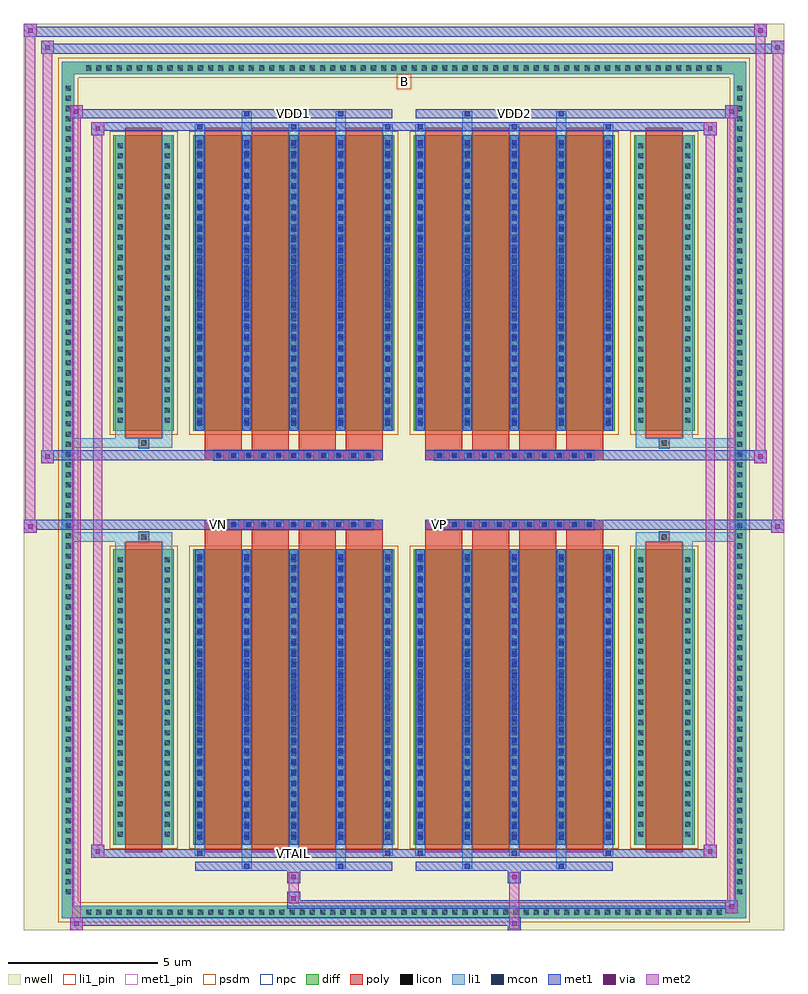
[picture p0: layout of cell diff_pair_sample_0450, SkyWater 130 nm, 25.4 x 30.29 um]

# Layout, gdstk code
import gdstk
lib = gdstk.Library(unit=1e-6, precision=5e-09)
def R(c, l, rs):  # rectangles x0, y0, x1, y1
    for r in rs: c.add(gdstk.rectangle(r[:2], r[2:], *l))
def A(c, l, x, y, w, h, nx, ny, dx, dy):  # array of equal rectangles
    R(c, l, [(x+i*dx, y+j*dy, x+i*dx+w, y+j*dy+h) for i in range(nx) for j in range(ny)])
def P(c, l, *ps):  # polygons
    for p in ps: c.add(gdstk.Polygon(p, *l))
nwell = (64, 20)
diff = (65, 20)
poly = (66, 20)
licon = (66, 44)
li1_pin = (67, 16)
li1 = (67, 20)
mcon = (67, 44)
met1_pin = (68, 16)
met1 = (68, 20)
via = (68, 44)
met2 = (69, 20)
psdm = (94, 20)
npc = (95, 20)

diff_pair_sample_0450 = lib.new_cell('diff_pair_sample_0450')
R(diff_pair_sample_0450, nwell, [(-12.7,-14.71,12.7,15.58), (-10.02,-12.9,-0.01,-0.8), (0.01,-12.9,10.02,-0.8), (-10.02,0.8,-0.01,12.9), (0.01,0.8,10.02,12.9)])
A(diff_pair_sample_0450, diff, -10.745, -14.31, 0.41, 0.41, 63, 2, 0.34, 28.21)
A(diff_pair_sample_0450, diff, -11.43, -13.635, 0.41, 0.41, 1, 80, 0, 0.34)
A(diff_pair_sample_0450, diff, 11.02, -13.635, 0.41, 0.41, 1, 80, 0, 0.34)
R(diff_pair_sample_0450, diff, [(-10.745,-14.31,10.745,-13.9), (-11.43,-13.635,-11.02,13.635), (11.02,-13.635,11.43,13.635), (-9.71,-11.855,-7.69,-1.985), (-7.05,-11.855,-0.32,-1.985), (0.32,-11.855,7.05,-1.985), (7.69,-11.855,9.71,-1.985), (-9.71,1.985,-7.69,11.855), (-7.05,1.985,-0.32,11.855), (0.32,1.985,7.05,11.855), (7.69,1.985,9.71,11.855), (-10.745,13.9,10.745,14.31)])
P(diff_pair_sample_0450, diff, [(11.43,14.31),(-11.43,14.31),(-11.43,-13.9),(-11.02,-13.9),(-11.02,13.9),(11.02,13.9),(11.02,-13.9),(-11.02,-13.9),(-11.43,-13.9),(-11.43,-14.31),(11.43,-14.31)])
A(diff_pair_sample_0450, poly, -6.66, -12.105, 1.24, 10.37, 4, 2, 1.57, 13.84)
A(diff_pair_sample_0450, poly, 0.71, -12.105, 1.24, 10.37, 4, 2, 1.57, 13.84)
A(diff_pair_sample_0450, poly, -6.66, -1.735, 1.24, 0.405, 4, 2, 1.57, 3.065)
A(diff_pair_sample_0450, poly, 0.71, -1.735, 1.24, 0.405, 4, 2, 1.57, 3.065)
A(diff_pair_sample_0450, poly, -6.35, -1.33, 0.33, 0.33, 11, 2, 0.5, 2.33)
A(diff_pair_sample_0450, poly, 1.02, -1.33, 0.33, 0.33, 11, 2, 0.5, 2.33)
R(diff_pair_sample_0450, poly, [(-9.32,-12.105,-8.08,-1.735), (8.08,-12.105,9.32,-1.735), (-8.865,-1.735,-8.535,-1.405), (-8.865,-1.735,-8.535,-1.405), (8.535,-1.735,8.865,-1.405), (8.535,-1.735,8.865,-1.405), (-6.66,-1.33,-0.71,-1), (0.71,-1.33,6.66,-1), (-6.66,1,-0.71,1.33), (0.71,1,6.66,1.33), (-8.865,1.405,-8.535,1.735), (-8.865,1.405,-8.535,1.735), (8.535,1.405,8.865,1.735), (8.535,1.405,8.865,1.735), (-9.32,1.735,-8.08,12.105), (8.08,1.735,9.32,12.105)])
A(diff_pair_sample_0450, licon, -10.625, -14.19, 0.17, 0.17, 63, 2, 0.34, 28.21)
A(diff_pair_sample_0450, licon, -11.31, -13.515, 0.17, 0.17, 1, 80, 0, 0.34)
A(diff_pair_sample_0450, licon, 11.14, -13.515, 0.17, 0.17, 1, 80, 0, 0.34)
A(diff_pair_sample_0450, licon, -9.57, -11.595, 0.17, 0.17, 1, 28, 0, 0.34)
A(diff_pair_sample_0450, licon, -8, -11.595, 0.17, 0.17, 1, 28, 0, 0.34)
A(diff_pair_sample_0450, licon, -6.91, -11.595, 0.17, 0.17, 5, 28, 1.57, 0.34)
A(diff_pair_sample_0450, licon, 0.46, -11.595, 0.17, 0.17, 5, 28, 1.57, 0.34)
A(diff_pair_sample_0450, licon, 7.83, -11.595, 0.17, 0.17, 1, 28, 0, 0.34)
A(diff_pair_sample_0450, licon, 9.4, -11.595, 0.17, 0.17, 1, 28, 0, 0.34)
A(diff_pair_sample_0450, licon, -6.27, -1.25, 0.17, 0.17, 11, 2, 0.5, 2.33)
A(diff_pair_sample_0450, licon, 1.1, -1.25, 0.17, 0.17, 11, 2, 0.5, 2.33)
A(diff_pair_sample_0450, licon, -9.57, 2.245, 0.17, 0.17, 1, 28, 0, 0.34)
A(diff_pair_sample_0450, licon, -8, 2.245, 0.17, 0.17, 1, 28, 0, 0.34)
A(diff_pair_sample_0450, licon, -6.91, 2.245, 0.17, 0.17, 5, 28, 1.57, 0.34)
A(diff_pair_sample_0450, licon, 0.46, 2.245, 0.17, 0.17, 5, 28, 1.57, 0.34)
A(diff_pair_sample_0450, licon, 7.83, 2.245, 0.17, 0.17, 1, 28, 0, 0.34)
A(diff_pair_sample_0450, licon, 9.4, 2.245, 0.17, 0.17, 1, 28, 0, 0.34)
R(diff_pair_sample_0450, licon, [(-8.785,-1.655,-8.615,-1.485), (8.615,-1.655,8.785,-1.485), (-8.785,1.485,-8.615,1.655), (8.615,1.485,8.785,1.655)])
R(diff_pair_sample_0450, li1_pin, [(-0.25,13.4,0.25,13.9)])
A(diff_pair_sample_0450, li1, -10.705, -14.27, 0.33, 0.33, 63, 2, 0.34, 28.21)
A(diff_pair_sample_0450, li1, -11.39, -13.595, 0.33, 0.33, 1, 80, 0, 0.34)
A(diff_pair_sample_0450, li1, 11.06, -13.595, 0.33, 0.33, 1, 80, 0, 0.34)
A(diff_pair_sample_0450, li1, -6.99, -12.23, 0.33, 0.375, 3, 2, 3.14, 24.085)
A(diff_pair_sample_0450, li1, -6.91, -12.23, 0.17, 0.17, 3, 2, 3.14, 24.29)
A(diff_pair_sample_0450, li1, 0.38, -12.23, 0.33, 0.375, 3, 2, 3.14, 24.085)
A(diff_pair_sample_0450, li1, 0.46, -12.23, 0.17, 0.17, 3, 2, 3.14, 24.29)
A(diff_pair_sample_0450, li1, -6.99, -11.855, 0.33, 9.87, 5, 2, 1.57, 13.84)
A(diff_pair_sample_0450, li1, 0.38, -11.855, 0.33, 9.87, 5, 2, 1.57, 13.84)
A(diff_pair_sample_0450, li1, -6.91, -11.685, 0.17, 0.17, 5, 27, 1.57, 0.36)
A(diff_pair_sample_0450, li1, -6.91, -11.685, 0.17, 9.53, 5, 2, 1.57, 13.84)
A(diff_pair_sample_0450, li1, 0.46, -11.685, 0.17, 0.17, 5, 27, 1.57, 0.36)
A(diff_pair_sample_0450, li1, 0.46, -11.685, 0.17, 9.53, 5, 2, 1.57, 13.84)
A(diff_pair_sample_0450, li1, -9.65, -11.675, 0.33, 0.33, 1, 28, 0, 0.34)
A(diff_pair_sample_0450, li1, -8.08, -11.675, 0.33, 0.33, 1, 28, 0, 0.34)
A(diff_pair_sample_0450, li1, -6.99, -11.675, 0.33, 0.33, 5, 28, 1.57, 0.34)
A(diff_pair_sample_0450, li1, 0.38, -11.675, 0.33, 0.33, 5, 28, 1.57, 0.34)
A(diff_pair_sample_0450, li1, 7.75, -11.675, 0.33, 0.33, 1, 28, 0, 0.34)
A(diff_pair_sample_0450, li1, 9.32, -11.675, 0.33, 0.33, 1, 28, 0, 0.34)
A(diff_pair_sample_0450, li1, -6.35, -1.33, 0.33, 0.33, 11, 2, 0.5, 2.33)
A(diff_pair_sample_0450, li1, 1.02, -1.33, 0.33, 0.33, 11, 2, 0.5, 2.33)
A(diff_pair_sample_0450, li1, -6.91, 2.155, 0.17, 0.17, 5, 27, 1.57, 0.36)
A(diff_pair_sample_0450, li1, 0.46, 2.155, 0.17, 0.17, 5, 27, 1.57, 0.36)
A(diff_pair_sample_0450, li1, -9.65, 2.165, 0.33, 0.33, 1, 28, 0, 0.34)
A(diff_pair_sample_0450, li1, -8.08, 2.165, 0.33, 0.33, 1, 28, 0, 0.34)
A(diff_pair_sample_0450, li1, -6.99, 2.165, 0.33, 0.33, 5, 28, 1.57, 0.34)
A(diff_pair_sample_0450, li1, 0.38, 2.165, 0.33, 0.33, 5, 28, 1.57, 0.34)
A(diff_pair_sample_0450, li1, 7.75, 2.165, 0.33, 0.33, 1, 28, 0, 0.34)
A(diff_pair_sample_0450, li1, 9.32, 2.165, 0.33, 0.33, 1, 28, 0, 0.34)
R(diff_pair_sample_0450, li1, [(-11.43,-14.31,-11.02,-13.9), (-11.43,-14.31,-11.02,-13.9), (-11.02,-14.31,11.02,-13.9), (11.02,-14.31,11.43,-13.9), (11.02,-14.31,11.43,-13.9), (-11.43,-13.9,-11.02,13.9), (11.02,-13.9,11.43,13.9), (-5.42,-12.66,-5.09,-11.855), (-5.34,-12.66,-5.17,-12.49), (-2.28,-12.66,-1.95,-11.855), (-2.2,-12.66,-2.03,-12.49), (1.95,-12.66,2.28,-11.855), (2.03,-12.66,2.2,-12.49), (5.09,-12.66,5.42,-11.855), (5.17,-12.66,5.34,-12.49), (-9.65,-11.855,-9.32,-1.985), (-8.08,-11.855,-7.75,-1.985), (7.75,-11.855,8.08,-1.985), (9.32,-11.855,9.65,-1.985), (-9.65,-1.985,-9.32,-1.405), (-8.08,-1.985,-7.75,-1.405), (7.75,-1.985,8.08,-1.405), (9.32,-1.985,9.65,-1.405), (-11.43,-1.735,-8.865,-1.405), (-9.65,-1.735,-8.865,-1.405), (-8.865,-1.735,-8.535,-1.405), (-8.535,-1.735,-7.75,-1.405), (7.75,-1.735,8.535,-1.405), (8.535,-1.735,8.865,-1.405), (8.535,-1.735,11.43,-1.405), (8.865,-1.735,9.65,-1.405), (-11.43,1.405,-8.865,1.735), (-9.65,1.405,-8.865,1.735), (-9.65,1.405,-9.32,1.985), (-8.865,1.405,-8.535,1.735), (-8.535,1.405,-7.75,1.735), (-8.08,1.405,-7.75,1.985), (7.75,1.405,8.535,1.735), (7.75,1.405,8.08,1.985), (8.535,1.405,8.865,1.735), (8.535,1.405,11.43,1.735), (8.865,1.405,9.65,1.735), (9.32,1.405,9.65,1.985), (-9.65,1.985,-9.32,11.855), (-8.08,1.985,-7.75,11.855), (7.75,1.985,8.08,11.855), (9.32,1.985,9.65,11.855), (-5.42,11.855,-5.09,12.66), (-2.28,11.855,-1.95,12.66), (1.95,11.855,2.28,12.66), (5.09,11.855,5.42,12.66), (-5.34,12.49,-5.17,12.66), (-2.2,12.49,-2.03,12.66), (2.03,12.49,2.2,12.66), (5.17,12.49,5.34,12.66), (-11.43,13.9,-11.02,14.31), (-11.43,13.9,-11.02,14.31), (-11.02,13.9,11.02,14.31), (11.02,13.9,11.43,14.31), (11.02,13.9,11.43,14.31)])
A(diff_pair_sample_0450, mcon, -6.91, -12.23, 0.17, 0.17, 3, 2, 3.14, 24.29)
A(diff_pair_sample_0450, mcon, 0.46, -12.23, 0.17, 0.17, 3, 2, 3.14, 24.29)
A(diff_pair_sample_0450, mcon, -6.91, -11.685, 0.17, 0.17, 5, 27, 1.57, 0.36)
A(diff_pair_sample_0450, mcon, 0.46, -11.685, 0.17, 0.17, 5, 27, 1.57, 0.36)
A(diff_pair_sample_0450, mcon, -6.27, -1.25, 0.17, 0.17, 11, 2, 0.5, 2.33)
A(diff_pair_sample_0450, mcon, 1.1, -1.25, 0.17, 0.17, 11, 2, 0.5, 2.33)
A(diff_pair_sample_0450, mcon, -6.91, 2.155, 0.17, 0.17, 5, 27, 1.57, 0.36)
A(diff_pair_sample_0450, mcon, 0.46, 2.155, 0.17, 0.17, 5, 27, 1.57, 0.36)
R(diff_pair_sample_0450, mcon, [(-5.34,-12.66,-5.17,-12.49), (-2.2,-12.66,-2.03,-12.49), (2.03,-12.66,2.2,-12.49), (5.17,-12.66,5.34,-12.49), (-5.34,12.49,-5.17,12.66), (-2.2,12.49,-2.03,12.66), (2.03,12.49,2.2,12.66), (5.17,12.49,5.34,12.66)])
R(diff_pair_sample_0450, met1_pin, [(-3.82,-12.27,-3.55,-12), (-6.32,-1.29,-6.05,-1.02), (1.05,-1.29,1.32,-1.02), (-3.82,12.45,-3.55,12.72), (3.55,12.45,3.82,12.72)])
A(diff_pair_sample_0450, met1, -6.97, -12.29, 0.29, 0.29, 3, 2, 3.14, 24.29)
A(diff_pair_sample_0450, met1, 0.4, -12.29, 0.29, 0.29, 3, 2, 3.14, 24.29)
A(diff_pair_sample_0450, met1, -6.97, -11.855, 0.29, 9.87, 5, 2, 1.57, 13.84)
A(diff_pair_sample_0450, met1, 0.4, -11.855, 0.29, 9.87, 5, 2, 1.57, 13.84)
A(diff_pair_sample_0450, met1, -6.97, -11.745, 0.29, 0.29, 5, 27, 1.57, 0.36)
A(diff_pair_sample_0450, met1, 0.4, -11.745, 0.29, 0.29, 5, 27, 1.57, 0.36)
A(diff_pair_sample_0450, met1, -6.33, -1.31, 0.29, 0.29, 11, 2, 0.5, 2.33)
A(diff_pair_sample_0450, met1, 1.04, -1.31, 0.29, 0.29, 11, 2, 0.5, 2.33)
A(diff_pair_sample_0450, met1, -6.97, 2.095, 0.29, 0.29, 5, 27, 1.57, 0.36)
A(diff_pair_sample_0450, met1, 0.4, 2.095, 0.29, 0.29, 5, 27, 1.57, 0.36)
R(diff_pair_sample_0450, met1, [(-11.16,-14.71,-10.73,-14.28), (3.47,-14.71,3.9,-14.28), (-11.16,-14.57,3.9,-14.28), (10.73,-14.14,11.16,-13.71), (-3.9,-14,11.16,-13.71), (-3.9,-13.86,-3.47,-13.43), (-3.9,-13.15,-3.47,-12.72), (3.47,-13.15,3.9,-12.72), (-6.97,-12.72,-0.4,-12.43), (-5.4,-12.72,-5.11,-12.43), (-2.26,-12.72,-1.97,-12.43), (0.4,-12.72,6.97,-12.43), (1.97,-12.72,2.26,-12.43), (5.11,-12.72,5.4,-12.43), (-10.45,-12.29,-10.02,-11.86), (-10.45,-12.29,-6.97,-12), (-6.97,-12.29,-0.4,-12), (-0.4,-12.29,0.4,-12), (0.4,-12.29,6.97,-12), (6.97,-12.29,10.45,-12), (10.02,-12.29,10.45,-11.86), (-12.7,-1.43,-12.27,-1), (12.27,-1.43,12.7,-1), (-12.7,-1.33,-0.71,-1), (-6.66,-1.33,-0.71,-1), (0.71,-1.33,6.66,-1), (0.71,-1.33,12.7,-1), (-12.13,0.9,-11.7,1.33), (11.7,0.9,12.13,1.33), (-12.13,1,-6.66,1.33), (-6.66,1,-0.71,1.33), (0.71,1,6.66,1.33), (6.66,1,12.13,1.33), (-10.45,11.86,-10.02,12.29), (10.02,11.86,10.45,12.29), (-10.45,12,-6.97,12.29), (-6.97,12,-0.4,12.29), (-0.4,12,0.4,12.29), (0.4,12,6.97,12.29), (6.97,12,10.45,12.29), (-11.16,12.43,-10.73,12.86), (-11.16,12.43,-6.97,12.72), (-6.97,12.43,-0.4,12.72), (-5.4,12.43,-5.11,12.72), (-2.26,12.43,-1.97,12.72), (0.4,12.43,6.97,12.72), (1.97,12.43,2.26,12.72), (5.11,12.43,5.4,12.72), (6.97,12.43,11.16,12.72), (10.73,12.43,11.16,12.86), (-12.13,14.58,-11.7,15.01), (-12.13,14.58,-10.02,14.91), (-10.02,14.58,10.02,14.91), (10.02,14.58,12.7,14.91), (12.27,14.58,12.7,15.01), (-12.7,15.15,-12.27,15.58), (-12.7,15.15,-10.02,15.48), (-10.02,15.15,10.02,15.48), (10.02,15.15,12.13,15.48), (11.7,15.15,12.13,15.58)])
R(diff_pair_sample_0450, via, [(-11.02,-14.57,-10.87,-14.42), (3.61,-14.57,3.76,-14.42), (10.87,-14,11.02,-13.85), (-3.76,-13.72,-3.61,-13.57), (-3.76,-13.01,-3.61,-12.86), (3.61,-13.01,3.76,-12.86), (-10.31,-12.15,-10.16,-12), (10.16,-12.15,10.31,-12), (-12.56,-1.29,-12.41,-1.14), (12.41,-1.29,12.56,-1.14), (-11.99,1.04,-11.84,1.19), (11.84,1.04,11.99,1.19), (-10.31,12,-10.16,12.15), (10.16,12,10.31,12.15), (-11.02,12.57,-10.87,12.72), (10.87,12.57,11.02,12.72), (-11.99,14.72,-11.84,14.87), (12.41,14.72,12.56,14.87), (-12.56,15.29,-12.41,15.44), (11.84,15.29,11.99,15.44)])
R(diff_pair_sample_0450, met2, [(-11.16,-14.71,-10.73,-14.28), (-11.09,-14.71,-10.8,12.86), (-10.8,-14.71,-10.73,-14.28), (-11.11,-14.66,-10.78,-14.33), (3.52,-14.66,3.85,-14.33), (3.52,-14.33,3.85,-13.1), (10.73,-14.14,11.16,-13.71), (10.8,-14.14,11.09,12.86), (11.09,-14.14,11.16,-13.71), (10.78,-14.09,11.11,-13.76), (-3.85,-13.81,-3.52,-13.48), (-3.85,-13.48,-3.52,-13.1), (-3.85,-13.1,-3.52,-12.77), (3.52,-13.1,3.85,-12.77), (-10.45,-12.29,-10.02,-11.86), (-10.38,-12.29,-10.09,12.29), (-10.09,-12.29,-10.02,-11.86), (10.02,-12.29,10.45,-11.86), (10.09,-12.29,10.38,12.29), (10.38,-12.29,10.45,-11.86), (-10.4,-12.24,-10.07,-11.91), (10.07,-12.24,10.4,-11.91), (-12.7,-1.43,-12.27,-1), (-12.65,-1.43,-12.32,15.58), (-12.32,-1.43,-12.27,-1), (12.27,-1.43,12.7,-1), (12.32,-1.43,12.65,15.01), (12.65,-1.43,12.7,-1), (-12.65,-1.38,-12.32,-1.05), (12.32,-1.38,12.65,-1.05), (-12.13,0.9,-11.7,1.33), (-12.08,0.9,-11.75,15.01), (-11.75,0.9,-11.7,1.33), (11.7,0.9,12.13,1.33), (11.75,0.9,12.08,15.58), (12.08,0.9,12.13,1.33), (-12.08,0.95,-11.75,1.28), (11.75,0.95,12.08,1.28), (-10.45,11.86,-10.02,12.29), (-10.09,11.86,-10.02,12.29), (10.02,11.86,10.45,12.29), (10.38,11.86,10.45,12.29), (-10.4,11.91,-10.07,12.24), (10.07,11.91,10.4,12.24), (-11.16,12.43,-10.73,12.86), (-10.8,12.43,-10.73,12.86), (10.73,12.43,11.16,12.86), (11.09,12.43,11.16,12.86), (-11.11,12.48,-10.78,12.81), (10.78,12.48,11.11,12.81), (-12.13,14.58,-11.7,15.01), (-11.75,14.58,-11.7,15.01), (12.27,14.58,12.7,15.01), (12.65,14.58,12.7,15.01), (-12.08,14.63,-11.75,14.96), (12.32,14.63,12.65,14.96), (-12.7,15.15,-12.27,15.58), (-12.32,15.15,-12.27,15.58), (11.7,15.15,12.13,15.58), (12.08,15.15,12.13,15.58), (-12.65,15.2,-12.32,15.53), (11.75,15.2,12.08,15.53)])
R(diff_pair_sample_0450, psdm, [(-9.84,-11.985,-7.56,-1.855), (-7.18,-11.985,-0.19,-1.855), (0.19,-11.985,7.18,-1.855), (7.56,-11.985,9.84,-1.855), (-9.84,1.855,-7.56,11.985), (-7.18,1.855,-0.19,11.985), (0.19,1.855,7.18,11.985), (7.56,1.855,9.84,11.985)])
P(diff_pair_sample_0450, psdm, [(11.56,14.44),(-11.56,14.44),(-11.56,-13.77),(-10.89,-13.77),(-10.89,13.77),(10.89,13.77),(10.89,-13.77),(-10.89,-13.77),(-11.56,-13.77),(-11.56,-14.44),(11.56,-14.44)])
A(diff_pair_sample_0450, npc, -6.37, -1.35, 0.37, 0.37, 11, 2, 0.5, 2.33)
A(diff_pair_sample_0450, npc, 1, -1.35, 0.37, 0.37, 11, 2, 0.5, 2.33)
R(diff_pair_sample_0450, npc, [(-8.885,-1.755,-8.515,-1.385), (8.515,-1.755,8.885,-1.385), (-6.37,-1.35,-5.5,-0.98), (-6.37,-1.35,-5.5,-0.98), (-5.87,-1.35,-5,-0.98), (-5.87,-1.35,-5,-0.98), (-5.37,-1.35,-4.5,-0.98), (-5.37,-1.35,-4.5,-0.98), (-4.87,-1.35,-4,-0.98), (-4.87,-1.35,-4,-0.98), (-4.37,-1.35,-3.5,-0.98), (-4.37,-1.35,-3.5,-0.98), (-3.87,-1.35,-3,-0.98), (-3.87,-1.35,-3,-0.98), (-3.37,-1.35,-2.5,-0.98), (-3.37,-1.35,-2.5,-0.98), (-2.87,-1.35,-2,-0.98), (-2.87,-1.35,-2,-0.98), (-2.37,-1.35,-1.5,-0.98), (-2.37,-1.35,-1.5,-0.98), (-1.87,-1.35,-1,-0.98), (-1.87,-1.35,-1,-0.98), (1,-1.35,1.87,-0.98), (1,-1.35,1.87,-0.98), (1.5,-1.35,2.37,-0.98), (1.5,-1.35,2.37,-0.98), (2,-1.35,2.87,-0.98), (2,-1.35,2.87,-0.98), (2.5,-1.35,3.37,-0.98), (2.5,-1.35,3.37,-0.98), (3,-1.35,3.87,-0.98), (3,-1.35,3.87,-0.98), (3.5,-1.35,4.37,-0.98), (3.5,-1.35,4.37,-0.98), (4,-1.35,4.87,-0.98), (4,-1.35,4.87,-0.98), (4.5,-1.35,5.37,-0.98), (4.5,-1.35,5.37,-0.98), (5,-1.35,5.87,-0.98), (5,-1.35,5.87,-0.98), (5.5,-1.35,6.37,-0.98), (5.5,-1.35,6.37,-0.98), (-6.37,0.98,-5.5,1.35), (-6.37,0.98,-5.5,1.35), (-5.87,0.98,-5,1.35), (-5.87,0.98,-5,1.35), (-5.37,0.98,-4.5,1.35), (-5.37,0.98,-4.5,1.35), (-4.87,0.98,-4,1.35), (-4.87,0.98,-4,1.35), (-4.37,0.98,-3.5,1.35), (-4.37,0.98,-3.5,1.35), (-3.87,0.98,-3,1.35), (-3.87,0.98,-3,1.35), (-3.37,0.98,-2.5,1.35), (-3.37,0.98,-2.5,1.35), (-2.87,0.98,-2,1.35), (-2.87,0.98,-2,1.35), (-2.37,0.98,-1.5,1.35), (-2.37,0.98,-1.5,1.35), (-1.87,0.98,-1,1.35), (-1.87,0.98,-1,1.35), (1,0.98,1.87,1.35), (1,0.98,1.87,1.35), (1.5,0.98,2.37,1.35), (1.5,0.98,2.37,1.35), (2,0.98,2.87,1.35), (2,0.98,2.87,1.35), (2.5,0.98,3.37,1.35), (2.5,0.98,3.37,1.35), (3,0.98,3.87,1.35), (3,0.98,3.87,1.35), (3.5,0.98,4.37,1.35), (3.5,0.98,4.37,1.35), (4,0.98,4.87,1.35), (4,0.98,4.87,1.35), (4.5,0.98,5.37,1.35), (4.5,0.98,5.37,1.35), (5,0.98,5.87,1.35), (5,0.98,5.87,1.35), (5.5,0.98,6.37,1.35), (5.5,0.98,6.37,1.35), (-8.885,1.385,-8.515,1.755), (8.515,1.385,8.885,1.755)])
diff_pair_sample_0450.add(gdstk.Label('VTAIL', (-3.685,-12.135), layer=68, texttype=5))
diff_pair_sample_0450.add(gdstk.Label('VN', (-6.185,-1.155), layer=68, texttype=5))
diff_pair_sample_0450.add(gdstk.Label('VP', (1.185,-1.155), layer=68, texttype=5))
diff_pair_sample_0450.add(gdstk.Label('B', (0,13.65), layer=67, texttype=5))
diff_pair_sample_0450.add(gdstk.Label('VDD2', (3.685,12.585), layer=68, texttype=5))
diff_pair_sample_0450.add(gdstk.Label('VDD1', (-3.685,12.585), layer=68, texttype=5))

lib.write_gds('diff_pair_sample_0450.gds')
